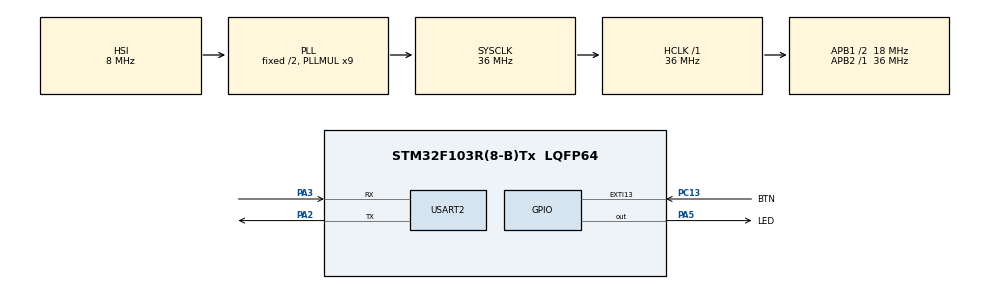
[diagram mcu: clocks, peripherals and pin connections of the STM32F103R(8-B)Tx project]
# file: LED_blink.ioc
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Mcu.Family=STM32F1
Mcu.Name=STM32F103R(8-B)Tx
Mcu.Package=LQFP64
NVIC.EXTI15_10_IRQn=true\:0\:0\:false\:true\:true\:1\:true\:true\:true
NVIC.PriorityGroup=NVIC_PRIORITYGROUP_4
PA13.GPIO_Label=TMS
PA13.Mode=Serial_Wire
PA13.Signal=SYS_JTMS-SWDIO
PA14.GPIO_Label=TCK
PA14.Mode=Serial_Wire
PA14.Signal=SYS_JTCK-SWCLK
PA2.Mode=Asynchronous
PA2.Signal=USART2_TX
PA3.Mode=Asynchronous
PA3.Signal=USART2_RX
PA5.GPIO_Label=LED
PA5.GPIO_ModeDefaultOutputPP=GPIO_MODE_OUTPUT_PP
PA5.GPIO_PuPd=GPIO_NOPULL
PA5.GPIO_Speed=GPIO_SPEED_FREQ_LOW
PA5.Signal=GPIO_Output
PB3.GPIO_Label=SWO
PB3.Signal=SYS_JTDO-TRACESWO
PC13-TAMPER-RTC.GPIO_Label=BTN
PC13-TAMPER-RTC.Signal=GPXTI13
PC14-OSC32_IN.Mode=LSE-External-Oscillator
PC14-OSC32_IN.Signal=RCC_OSC32_IN
PC15-OSC32_OUT.Mode=LSE-External-Oscillator
PC15-OSC32_OUT.Signal=RCC_OSC32_OUT
PD0-OSC_IN.Mode=HSE-External-Clock-Source
PD0-OSC_IN.Signal=RCC_OSC_IN
PD1-OSC_OUT.Mode=HSE-External-Clock-Source
PD1-OSC_OUT.Signal=RCC_OSC_OUT
ProjectManager.HeapSize=0x200
ProjectManager.StackSize=0x400
ProjectManager.TargetToolchain=STM32CubeIDE
RCC.AHBFreq_Value=36000000
RCC.APB1CLKDivider=RCC_HCLK_DIV2
RCC.APB1Freq_Value=18000000
RCC.APB1TimFreq_Value=36000000
RCC.APB2Freq_Value=36000000
RCC.APB2TimFreq_Value=36000000
RCC.HCLKFreq_Value=36000000
RCC.HSEDivPLL=RCC_HSE_PREDIV_DIV2
RCC.HSE_VALUE=16000000
RCC.PLLMUL=RCC_PLL_MUL9
RCC.RTCClockSelection=RCC_RTCCLKSOURCE_LSE
RCC.SYSCLKFreq_VALUE=36000000
RCC.SYSCLKSource=RCC_SYSCLKSOURCE_PLLCLK
RCC.USBFreq_Value=36000000
USART2.VirtualMode=VM_ASYNC
board=NUCLEO-F103RB

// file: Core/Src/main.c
/* USER CODE BEGIN Header */
/**
  ******************************************************************************
  * @file           : main.c
  * @brief          : Main program body
  ******************************************************************************
  * @attention
  *
  * Copyright (c) 2025 STMicroelectronics.
  * All rights reserved.
  *
  * This software is licensed under terms that can be found in the LICENSE file
  * in the root directory of this software component.
  * If no LICENSE file comes with this software, it is provided AS-IS.
  *
  ******************************************************************************
  */
/* USER CODE END Header */
#include "main.h"
#include "usart.h"
#include "gpio.h"

/* USER CODE BEGIN Includes */
#include <string.h>
/* USER CODE END Includes */

/* USER CODE BEGIN PV */

uint8_t btn_press = 0;

uint16_t blink_delays[] = {
		500,
		200,
		100
};

uint8_t blink_delay = 0;

/* USER CODE END PV */

void SystemClock_Config(void);
static void MX_NVIC_Init(void);

/* USER CODE BEGIN 0 */
void HAL_GPIO_EXTI_Callback(uint16_t GPIO_Pin) {
	if (GPIO_Pin == BTN_Pin) {
		btn_press = 1;
	}
}
/* USER CODE END 0 */

int main(void)
{

  /* MCU Configuration--------------------------------------------------------*/

  /* Reset of all peripherals, Initializes the Flash interface and the Systick. */
  HAL_Init();

  /* Configure the system clock */
  SystemClock_Config();

  /* Initialize all configured peripherals */
  MX_GPIO_Init();
  MX_USART2_UART_Init();

  /* Initialize interrupts */
  MX_NVIC_Init();

  /* Infinite loop */
  /* USER CODE BEGIN WHILE */
  uint32_t now = 0, last_blink = 0;

  while (1)
  {
	now = HAL_GetTick();

	if (now - last_blink >= blink_delays[blink_delay]) {
		HAL_GPIO_TogglePin(LED_GPIO_Port, LED_Pin);
		last_blink = now;
		HAL_UART_Transmit(&huart2, (uint8_t *) "LED toggled\r\n", strlen("LED toggled\n\r"), 1000);
	}

	if (btn_press) {
		HAL_UART_Transmit(&huart2, (uint8_t *)"Btn pressed\n", strlen("Btn pressed\n"), 1000);
		++blink_delay;
		if (blink_delay >= sizeof(blink_delays)/sizeof(blink_delays[0])) blink_delay = 0;
		btn_press = 0;
	}
    /* USER CODE END WHILE */

  }
}

void SystemClock_Config(void)
{
  RCC_OscInitTypeDef RCC_OscInitStruct = {0};
  RCC_ClkInitTypeDef RCC_ClkInitStruct = {0};

  /** Initializes the RCC Oscillators according to the specified parameters
  * in the RCC_OscInitTypeDef structure.
  */
  RCC_OscInitStruct.OscillatorType = RCC_OSCILLATORTYPE_HSI;
  RCC_OscInitStruct.HSIState = RCC_HSI_ON;
  RCC_OscInitStruct.HSICalibrationValue = RCC_HSICALIBRATION_DEFAULT;
  RCC_OscInitStruct.PLL.PLLState = RCC_PLL_ON;
  RCC_OscInitStruct.PLL.PLLSource = RCC_PLLSOURCE_HSI_DIV2;
  RCC_OscInitStruct.PLL.PLLMUL = RCC_PLL_MUL9;
  if (HAL_RCC_OscConfig(&RCC_OscInitStruct) != HAL_OK)
  {
    Error_Handler();
  }

  /** Initializes the CPU, AHB and APB buses clocks
  */
  RCC_ClkInitStruct.ClockType = RCC_CLOCKTYPE_HCLK|RCC_CLOCKTYPE_SYSCLK
                              |RCC_CLOCKTYPE_PCLK1|RCC_CLOCKTYPE_PCLK2;
  RCC_ClkInitStruct.SYSCLKSource = RCC_SYSCLKSOURCE_PLLCLK;
  RCC_ClkInitStruct.AHBCLKDivider = RCC_SYSCLK_DIV1;
  RCC_ClkInitStruct.APB1CLKDivider = RCC_HCLK_DIV2;
  RCC_ClkInitStruct.APB2CLKDivider = RCC_HCLK_DIV1;

  if (HAL_RCC_ClockConfig(&RCC_ClkInitStruct, FLASH_LATENCY_1) != HAL_OK)
  {
    Error_Handler();
  }
}

/**
  * @brief NVIC Configuration.
  * @retval None
  */
static void MX_NVIC_Init(void)
{
  /* EXTI15_10_IRQn interrupt configuration */
  HAL_NVIC_SetPriority(EXTI15_10_IRQn, 0, 0);
  HAL_NVIC_EnableIRQ(EXTI15_10_IRQn);
}

void Error_Handler(void)
{
  __disable_irq();
  while (1)
  {
  }
}
